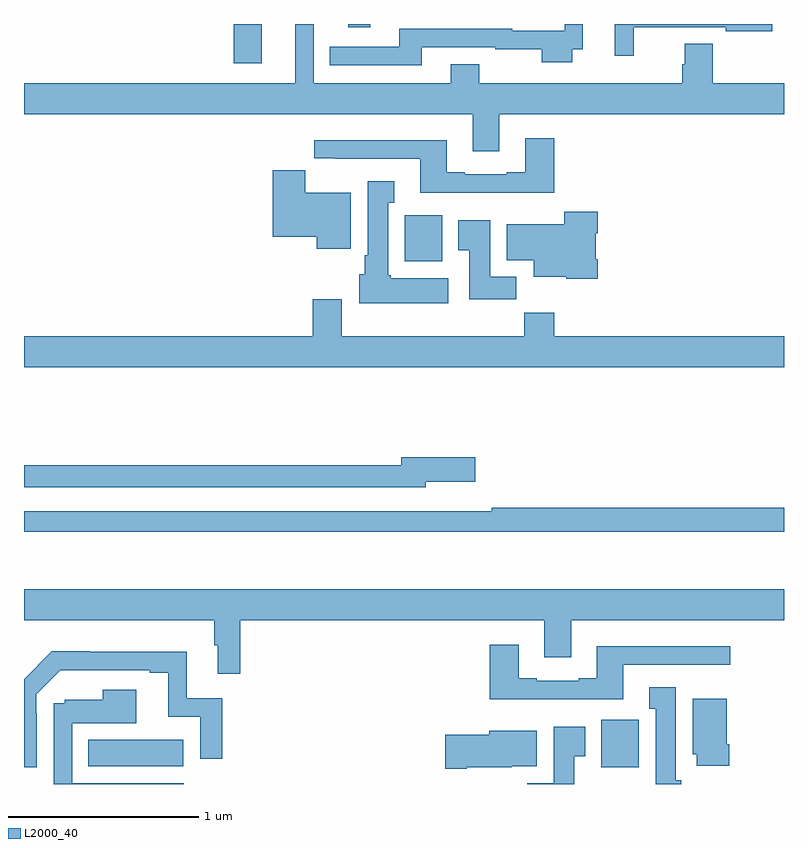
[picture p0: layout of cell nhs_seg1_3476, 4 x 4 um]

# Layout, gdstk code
import gdstk
lib = gdstk.Library(unit=1e-6, precision=1e-09)
def R(c, l, rs):  # rectangles x0, y0, x1, y1
    for r in rs: c.add(gdstk.rectangle(r[:2], r[2:], *l))
def P(c, l, *ps):  # polygons
    for p in ps: c.add(gdstk.Polygon(p, *l))
L2000_40 = (2000, 40)

nhs_seg1_3476 = lib.new_cell('nhs_seg1_3476')
R(nhs_seg1_3476, L2000_40, [(302.039,556.286,302.235,556.537), (299.338,556.292,299.839,556.432), (301.004,558.95,301.201,559.192), (300.104,559.992,300.25,560.199), (300.707,560.181,300.823,560.199)])
P(nhs_seg1_3476, L2000_40, [(302.21,560.181),(302.693,560.181),(302.693,560.162),(302.938,560.162),(302.938,560.199),(302.108,560.199),(302.108,560.031),(302.21,560.031)],
  [(301.501,559.724),(303,559.724),(303,559.888),(302.625,559.888),(302.625,560.096),(302.477,560.096),(302.477,559.986),(302.465,559.986),(302.465,559.888),(301.395,559.888),(301.395,559.987),(301.247,559.987),(301.247,559.888),(300.525,559.888),(300.525,560.199),(300.428,560.199),(300.428,559.888),(299,559.888),(299,559.724),(301.361,559.724),(301.361,559.53),(301.501,559.53)],
  [(301.093,560.076),(301.479,560.076),(301.479,560.066),(301.726,560.066),(301.726,559.997),(301.885,559.997),(301.885,560.067),(301.942,560.067),(301.942,560.199),(301.845,560.199),(301.845,560.163),(301.569,560.163),(301.569,560.173),(300.974,560.173),(300.974,560.079),(300.61,560.079),(300.61,559.983),(301.093,559.983)],
  [(301.79,559.597),(301.637,559.597),(301.637,559.42),(301.541,559.42),(301.541,559.407),(301.321,559.407),(301.321,559.42),(301.225,559.42),(301.225,559.588),(300.528,559.588),(300.528,559.493),(300.637,559.493),(300.637,559.491),(301.085,559.491),(301.085,559.31),(301.79,559.31)],
  [(300.721,559.312),(300.481,559.312),(300.481,559.428),(300.308,559.428),(300.308,559.079),(300.542,559.079),(300.542,559.016),(300.721,559.016)],
  [(301.234,558.862),(300.93,558.862),(300.93,558.876),(300.916,558.876),(300.916,559.259),(300.949,559.259),(300.949,559.372),(300.809,559.372),(300.809,558.982),(300.794,558.982),(300.794,558.882),(300.764,558.882),(300.764,558.728),(301.234,558.728)],
  [(302.021,558.961),(302.008,558.961),(302.008,559.097),(302.021,559.097),(302.021,559.21),(301.843,559.21),(301.843,559.144),(301.541,559.144),(301.541,558.956),(301.682,558.956),(301.682,558.869),(301.854,558.869),(301.854,558.857),(302.021,558.857)],
  [(301.592,558.868),(301.453,558.868),(301.453,559.165),(301.286,559.165),(301.286,559.009),(301.343,559.009),(301.343,558.75),(301.592,558.75)],
  [(303,558.556),(301.79,558.556),(301.79,558.68),(301.633,558.68),(301.633,558.556),(300.673,558.556),(300.673,558.751),(300.521,558.751),(300.521,558.556),(299,558.556),(299,558.392),(303,558.392)],
  [(301.114,557.789),(301.375,557.789),(301.375,557.919),(300.986,557.919),(300.986,557.876),(299,557.876),(299,557.76),(301.114,557.76)],
  [(303,557.654),(301.462,557.654),(301.462,557.635),(301.21,557.635),(301.21,557.634),(299,557.634),(299,557.526),(303,557.526)],
  [(300.137,557.06),(301.739,557.06),(301.739,556.866),(301.879,556.866),(301.879,557.06),(303,557.06),(303,557.224),(299,557.224),(299,557.06),(300.001,557.06),(300.001,556.928),(300.02,556.928),(300.02,556.779),(300.137,556.779)],
  [(302.155,556.827),(302.716,556.827),(302.716,556.924),(302.015,556.924),(302.015,556.756),(301.919,556.756),(301.919,556.743),(301.699,556.743),(301.699,556.756),(301.603,556.756),(301.603,556.933),(301.451,556.933),(301.451,556.646),(302.155,556.646)],
  [(299.067,556.571),(299.064,556.571),(299.064,556.671),(299.19,556.797),(299.663,556.797),(299.663,556.785),(299.759,556.785),(299.759,556.554),(299.928,556.554),(299.928,556.332),(300.044,556.332),(300.044,556.65),(299.857,556.65),(299.857,556.894),(299.345,556.894),(299.345,556.897),(299.146,556.897),(299,556.75),(299,556.286),(299.067,556.286)],
  [(302.458,556.218),(302.431,556.218),(302.431,556.708),(302.291,556.708),(302.291,556.595),(302.324,556.595),(302.324,556.199),(302.458,556.199)],
  [(299.842,556.203),(299.253,556.203),(299.253,556.52),(299.59,556.52),(299.59,556.696),(299.414,556.696),(299.414,556.642),(299.214,556.642),(299.214,556.623),(299.157,556.623),(299.157,556.199),(299.842,556.199)],
  [(302.711,556.408),(302.698,556.408),(302.698,556.648),(302.519,556.648),(302.519,556.356),(302.54,556.356),(302.54,556.296),(302.711,556.296)],
  [(301.897,556.345),(301.954,556.345),(301.954,556.501),(301.787,556.501),(301.787,556.204),(301.648,556.204),(301.648,556.199),(301.897,556.199)],
  [(301.33,556.286),(301.566,556.286),(301.566,556.292),(301.699,556.292),(301.699,556.48),(301.448,556.48),(301.448,556.457),(301.218,556.457),(301.218,556.279),(301.33,556.279)])

lib.write_gds('nhs_seg1_3476.gds')
